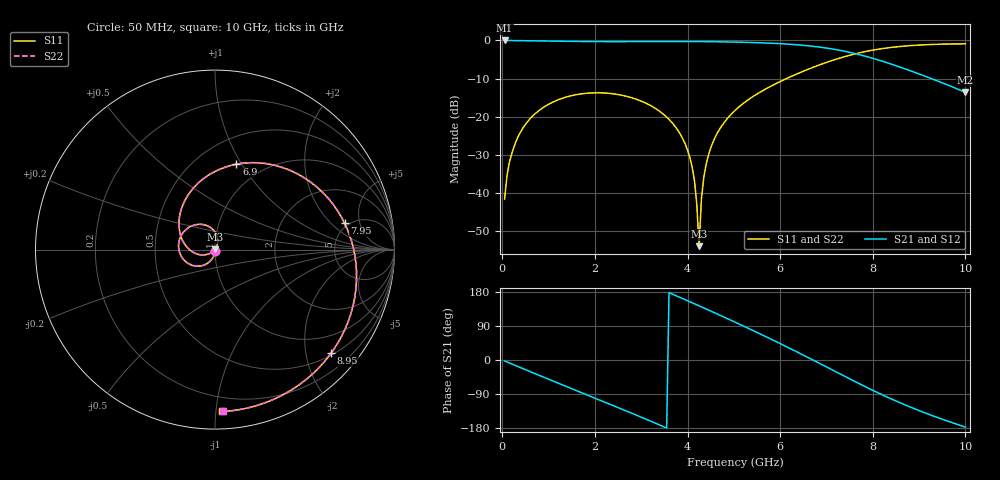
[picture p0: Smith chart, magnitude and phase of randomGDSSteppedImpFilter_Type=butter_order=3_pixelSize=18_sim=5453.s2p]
! freq	dB(S11)	phase(S11)	dB(S12)	phase(S12)
!  dB(S21)	phase(S21)	dB(S22)	phase(S22)
!S-par simulation data
#  GHz  S  DB  R 50
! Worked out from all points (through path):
!   200 points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, 50 MHz to 10 GHz, reference 50 ohm
!   highest |S21| = 0.00 dB at 50 MHz (marker M1); lowest = -13.6 dB at 10 GHz (marker M2)
!   group delay of S21, straight-line fit = 154 ps
!   lowest |S11| = -54.0 dB at 4.25 GHz (marker M3), VSWR 1.00, Z = 49.8 + j0.0975 ohm
!   |S11| at or under -10 dB: start of sweep to 6.138 GHz
!   |S22| runs from -53.3 to -0.9 dB; largest |S21 - S12| = 0
!   S11 on the Smith chart (normalised r, x): 50 MHz: 1.00, -0.02; 6.9 GHz: 0.76, +0.95; 7.95 GHz: 4.61, +2.97; 8.95 GHz: 0.55, -2.52; 10 GHz: 0.11, -1.04
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0.05  -41.66 -92.0  -0.00 -2.6  -0.00 -2.6  -41.66 -92.0
0.2  -29.90 -98.9  -0.02 -10.3  -0.02 -10.3  -29.90 -98.9
0.5  -22.03 -116.1  -0.06 -25.5  -0.06 -25.5  -22.03 -116.1
1.15  -15.86 -149.0  -0.18 -58.3  -0.18 -58.3  -15.86 -149.0
1.75  -13.96 -178.9  -0.28 -88.1  -0.28 -88.1  -13.96 -178.9
2.5  -14.20 143.7  -0.32 -125.4  -0.32 -125.4  -14.20 143.7
3.4  -18.63 97.8  -0.27 -171.6  -0.27 -171.6  -18.63 97.9
4.05  -30.71 65.3  -0.27 153.8  -0.27 153.8  -30.71 65.7
4.15  -36.83 63.0  -0.28 148.4  -0.28 148.4  -36.81 63.7
4.2  -43.05 67.4  -0.28 145.7  -0.28 145.7  -42.99 69.0
4.25  -54.01 150.6  -0.29 142.9  -0.29 142.9  -53.33 150.6
4.3  -41.61 -141.6  -0.29 140.2  -0.29 140.2  -41.57 -142.9
4.45  -30.16 -142.2  -0.31 132.0  -0.31 132.0  -30.16 -142.5
5.05  -18.10 -173.7  -0.43 98.6  -0.43 98.6  -18.10 -173.8
5.75  -12.33 146.0  -0.70 58.2  -0.70 58.2  -12.33 146.1
6.7  -7.11 88.4  -1.53 0.5  -1.53 0.5  -7.11 88.6
6.9  -6.19 75.9  -1.83 -12.0  -1.83 -12.0  -6.19 76.1
7.45  -4.06 41.7  -2.99 -46.6  -2.99 -46.6  -4.05 41.8
7.95  -2.66 11.5  -4.51 -77.1  -4.51 -77.1  -2.66 11.7
8.35  -1.90 -11.0  -6.01 -100.0  -6.01 -100.0  -1.90 -10.8
8.95  -1.24 -41.7  -8.57 -131.1  -8.57 -131.1  -1.24 -41.4
10  -0.89 -87.4  -13.63 -176.9  -13.63 -176.9  -0.88 -87.1
